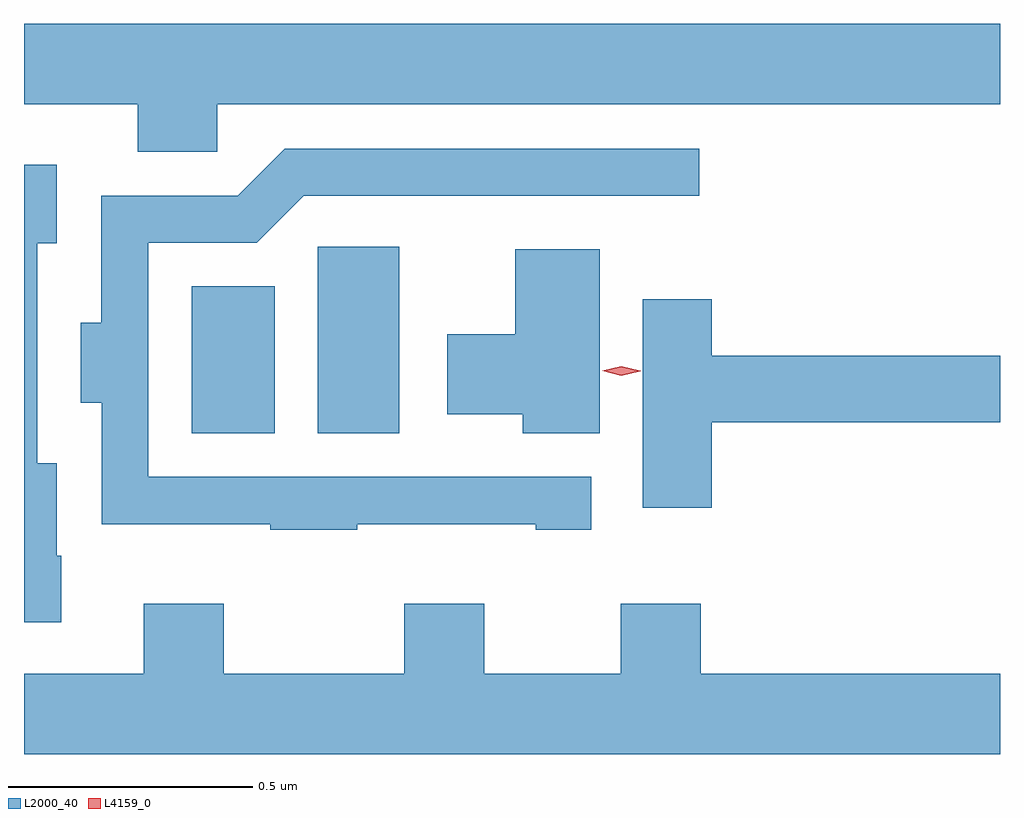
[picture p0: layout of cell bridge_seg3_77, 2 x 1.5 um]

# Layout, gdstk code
import gdstk
lib = gdstk.Library(unit=1e-6, precision=1e-09)
def R(c, l, rs):  # rectangles x0, y0, x1, y1
    for r in rs: c.add(gdstk.rectangle(r[:2], r[2:], *l))
def P(c, l, *ps):  # polygons
    for p in ps: c.add(gdstk.Polygon(p, *l))
L2000_40 = (2000, 40)
L4159_0 = (4159, 0)

bridge_seg3_77 = lib.new_cell('bridge_seg3_77')
R(bridge_seg3_77, L2000_40, [(472.352,685.589,472.522,685.891), (472.61,685.589,472.777,685.972)])
P(bridge_seg3_77, L2000_40, [(472.404,686.264),(474.008,686.264),(474.008,686.428),(472.008,686.428),(472.008,686.264),(472.241,686.264),(472.241,686.166),(472.404,686.166)],
  [(472.691,685.403),(473.057,685.403),(473.057,685.392),(473.17,685.392),(473.17,685.5),(472.263,685.5),(472.263,685.98),(472.485,685.98),(472.581,686.076),(473.392,686.076),(473.392,686.172),(472.542,686.172),(472.446,686.076),(472.166,686.076),(472.166,685.816),(472.124,685.816),(472.124,685.652),(472.167,685.652),(472.167,685.403),(472.513,685.403),(472.513,685.392),(472.691,685.392)],
  [(472.084,685.338),(472.075,685.338),(472.075,685.528),(472.035,685.528),(472.035,685.979),(472.075,685.979),(472.075,686.14),(472.008,686.14),(472.008,685.202),(472.084,685.202)],
  [(473.188,685.966),(473.015,685.966),(473.015,685.792),(472.875,685.792),(472.875,685.628),(473.03,685.628),(473.03,685.589),(473.188,685.589)],
  [(473.417,685.612),(474.008,685.612),(474.008,685.748),(473.417,685.748),(473.417,685.864),(473.276,685.864),(473.276,685.437),(473.417,685.437)],
  [(474.008,685.096),(473.395,685.096),(473.395,685.24),(473.231,685.24),(473.231,685.096),(472.951,685.096),(472.951,685.24),(472.787,685.24),(472.787,685.096),(472.417,685.096),(472.417,685.24),(472.253,685.24),(472.253,685.096),(472.008,685.096),(472.008,684.932),(474.008,684.932)])
P(bridge_seg3_77, L4159_0, [(473.232,685.707),(473.193,685.717),(473.193,685.717),(473.193,685.717),(473.232,685.727),(473.271,685.717),(473.272,685.717),(473.271,685.716)])

lib.write_gds('bridge_seg3_77.gds')
